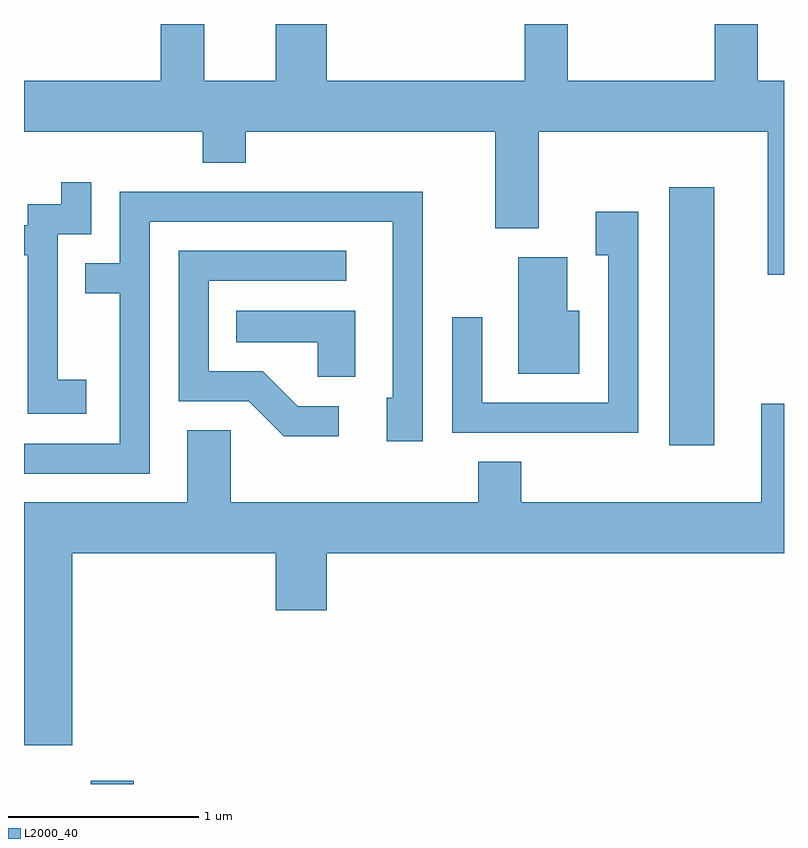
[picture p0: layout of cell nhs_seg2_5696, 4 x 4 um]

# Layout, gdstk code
import gdstk
lib = gdstk.Library(unit=1e-6, precision=1e-09)
def R(c, l, rs):  # rectangles x0, y0, x1, y1
    for r in rs: c.add(gdstk.rectangle(r[:2], r[2:], *l))
def P(c, l, *ps):  # polygons
    for p in ps: c.add(gdstk.Polygon(p, *l))
L2000_40 = (2000, 40)

nhs_seg2_5696 = lib.new_cell('nhs_seg2_5696')
R(nhs_seg2_5696, L2000_40, [(353.961,1013.802,354.189,1013.819), (357.006,1015.586,357.244,1016.944)])
P(nhs_seg2_5696, L2000_40, [(357.611,1017.504),(357.474,1017.504),(357.474,1017.802),(357.246,1017.802),(357.246,1017.504),(356.474,1017.504),(356.474,1017.802),(356.246,1017.802),(356.246,1017.504),(355.204,1017.504),(355.204,1017.802),(354.936,1017.802),(354.936,1017.504),(354.559,1017.504),(354.559,1017.802),(354.331,1017.802),(354.331,1017.504),(353.611,1017.504),(353.611,1017.236),(354.551,1017.236),(354.551,1017.071),(354.779,1017.071),(354.779,1017.236),(356.091,1017.236),(356.091,1016.726),(356.319,1016.726),(356.319,1017.236),(357.526,1017.236),(357.526,1016.483),(357.611,1016.483)],
  [(353.939,1015.929),(353.789,1015.929),(353.789,1016.696),(353.964,1016.696),(353.964,1016.968),(353.806,1016.968),(353.806,1016.854),(353.631,1016.854),(353.631,1016.744),(353.611,1016.744),(353.611,1016.586),(353.631,1016.586),(353.631,1015.751),(353.939,1015.751)],
  [(354.274,1016.761),(355.551,1016.761),(355.551,1015.834),(355.521,1015.834),(355.521,1015.606),(355.709,1015.606),(355.709,1016.919),(354.116,1016.919),(354.116,1016.544),(353.933,1016.544),(353.933,1016.386),(354.116,1016.386),(354.116,1015.594),(353.611,1015.594),(353.611,1015.436),(354.274,1015.436)],
  [(356.844,1016.814),(356.621,1016.814),(356.621,1016.586),(356.686,1016.586),(356.686,1015.809),(356.024,1015.809),(356.024,1016.258),(355.866,1016.258),(355.866,1015.651),(356.844,1015.651)],
  [(355.268,1015.789),(355.052,1015.789),(354.867,1015.974),(354.584,1015.974),(354.584,1016.451),(355.308,1016.451),(355.308,1016.609),(354.426,1016.609),(354.426,1015.816),(354.794,1015.816),(354.979,1015.631),(355.268,1015.631)],
  [(356.534,1016.294),(356.469,1016.294),(356.469,1016.574),(356.211,1016.574),(356.211,1015.961),(356.534,1015.961)],
  [(355.354,1016.294),(354.728,1016.294),(354.728,1016.126),(355.156,1016.126),(355.156,1015.946),(355.354,1015.946)],
  [(353.864,1015.016),(354.936,1015.016),(354.936,1014.716),(355.204,1014.716),(355.204,1015.016),(357.611,1015.016),(357.611,1015.804),(357.491,1015.804),(357.491,1015.284),(356.229,1015.284),(356.229,1015.499),(356.001,1015.499),(356.001,1015.284),(354.699,1015.284),(354.699,1015.664),(354.471,1015.664),(354.471,1015.284),(353.611,1015.284),(353.611,1014.006),(353.864,1014.006)])

lib.write_gds('nhs_seg2_5696.gds')
